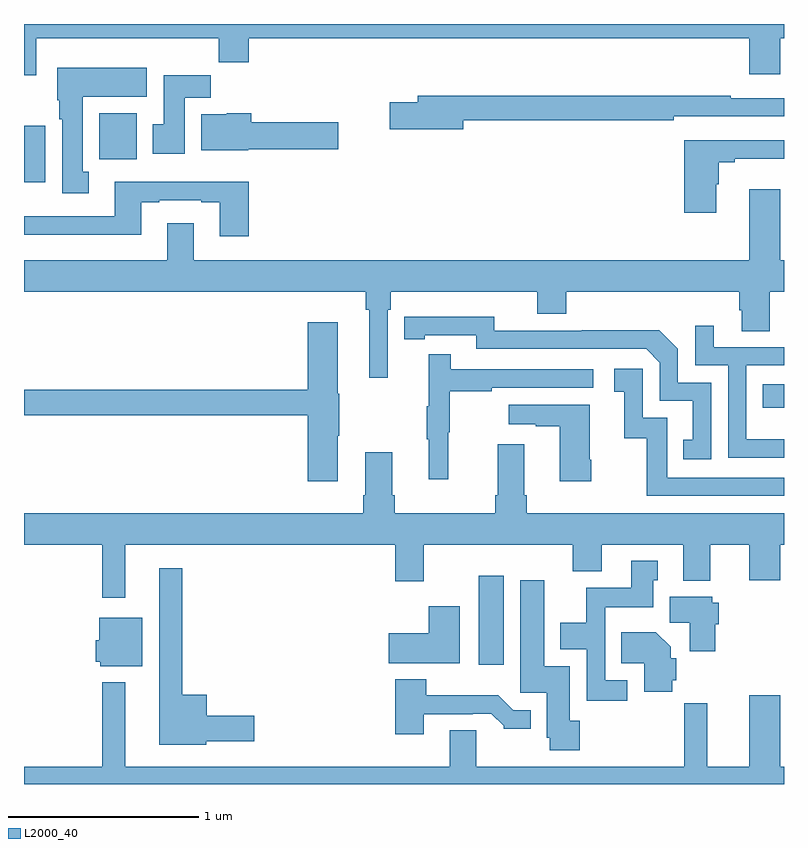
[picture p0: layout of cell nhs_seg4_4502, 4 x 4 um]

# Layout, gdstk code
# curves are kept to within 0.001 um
import gdstk
lib = gdstk.Library(unit=1e-6, precision=1e-09)
def R(c, l, rs):  # rectangles x0, y0, x1, y1
    for r in rs: c.add(gdstk.rectangle(r[:2], r[2:], *l))
def P(c, l, *ps):  # polygons
    for p in ps: c.add(gdstk.Polygon(p, *l))
L2000_40 = (2000, 40)

nhs_seg4_4502 = lib.new_cell('nhs_seg4_4502')
R(nhs_seg4_4502, L2000_40, [(355.394,789.528,355.525,789.997), (356.887,790.881,357,791.004), (353,792.068,353.113,792.364), (353.396,792.188,353.593,792.43)])
P(nhs_seg4_4502, L2000_40, [(353.065,792.824),(354.025,792.824),(354.025,792.7),(354.182,792.7),(354.182,792.824),(356.816,792.824),(356.816,792.636),(356.98,792.636),(356.98,792.824),(357,792.824),(357,792.9),(353,792.9),(353,792.63),(353.065,792.63)],
  [(353.341,792.122),(353.308,792.122),(353.308,792.518),(353.647,792.518),(353.647,792.67),(353.174,792.67),(353.174,792.498),(353.186,792.498),(353.186,792.398),(353.201,792.398),(353.201,792.009),(353.341,792.009)],
  [(353.845,792.512),(353.984,792.512),(353.984,792.631),(353.735,792.631),(353.735,792.372),(353.678,792.372),(353.678,792.216),(353.845,792.216)],
  [(355.312,792.394),(356.42,792.394),(356.42,792.414),(357,792.414),(357,792.51),(356.72,792.51),(356.72,792.523),(355.073,792.523),(355.073,792.489),(354.924,792.489),(354.924,792.347),(355.312,792.347)],
  [(354.18,792.242),(354.655,792.242),(354.655,792.384),(354.197,792.384),(354.197,792.43),(354.066,792.43),(354.066,792.424),(353.933,792.424),(353.933,792.236),(354.18,792.236)],
  [(356.644,792.057),(356.657,792.057),(356.657,792.172),(356.74,792.172),(356.74,792.191),(357,792.191),(357,792.288),(356.474,792.288),(356.474,791.907),(356.644,791.907)],
  [(354.182,792.07),(353.477,792.07),(353.477,791.889),(353,791.889),(353,791.792),(353.617,791.792),(353.617,791.961),(353.713,791.961),(353.713,791.973),(353.933,791.973),(353.933,791.961),(354.029,791.961),(354.029,791.784),(354.182,791.784)],
  [(354.915,791.396),(354.929,791.396),(354.929,791.492),(355.7,791.492),(355.7,791.375),(355.853,791.375),(355.853,791.492),(356.765,791.492),(356.765,791.394),(356.777,791.394),(356.777,791.284),(356.925,791.284),(356.925,791.492),(357,791.492),(357,791.656),(356.98,791.656),(356.98,792.031),(356.816,792.031),(356.816,791.656),(353.893,791.656),(353.893,791.851),(353.753,791.851),(353.753,791.656),(353,791.656),(353,791.492),(354.799,791.492),(354.799,791.396),(354.818,791.396),(354.818,791.037),(354.915,791.037)],
  [(356.616,791.013),(356.442,791.013),(356.442,791.19),(356.344,791.288),(355.936,791.288),(355.936,791.286),(355.476,791.286),(355.476,791.359),(355,791.358),(355,791.242),(355.108,791.242),(355.108,791.262),(355.38,791.262),(355.38,791.19),(356.274,791.19),(356.346,791.118),(356.346,790.917),(356.519,790.917),(356.519,790.713),(356.47,790.713),(356.47,790.608),(356.616,790.608)],
  [(354.652,790.732),(354.66,790.732),(354.66,790.953),(354.652,790.953),(354.652,791.329),(354.494,791.329),(354.494,790.976),(353,790.976),(353,790.84),(354.494,790.84),(354.494,790.494),(354.652,790.494)],
  [(357,790.714),(356.802,790.714),(356.802,791.103),(357,791.103),(357,791.199),(356.629,791.199),(356.629,791.311),(356.532,791.311),(356.532,791.103),(356.706,791.103),(356.706,790.617),(357,790.617)],
  [(355.232,790.752),(355.24,790.752),(355.24,790.966),(355.463,790.966),(355.463,790.986),(355.996,790.986),(355.996,791.082),(355.247,791.082),(355.247,791.161),(355.13,791.161),(355.13,790.889),(355.119,790.889),(355.119,790.715),(355.13,790.715),(355.13,790.503),(355.232,790.503)],
  [(357,790.512),(356.385,790.512),(356.385,790.827),(356.256,790.827),(356.256,791.086),(356.106,791.086),(356.106,790.965),(356.159,790.965),(356.159,790.719),(356.277,790.719),(356.277,790.416),(357,790.416)],
  [(355.986,790.606),(355.978,790.606),(355.978,790.897),(355.551,790.897),(355.551,790.793),(355.694,790.793),(355.694,790.783),(355.82,790.783),(355.82,790.494),(355.986,790.494)],
  [(355.633,790.42),(355.633,790.687),(355.493,790.687),(355.493,790.42),(355.481,790.42),(355.481,790.324),(354.95,790.324),(354.95,790.42),(354.937,790.42),(354.937,790.645),(354.797,790.645),(354.797,790.42),(354.785,790.42),(354.785,790.324),(353,790.324),(353,790.16),(353.412,790.16),(353.412,789.879),(353.533,789.879),(353.533,790.16),(354.953,790.16),(354.953,789.966),(355.105,789.966),(355.105,790.16),(355.889,790.16),(355.889,790.019),(356.041,790.019),(356.041,790.16),(356.471,790.16),(356.471,789.971),(356.611,789.971),(356.611,790.16),(356.816,790.16),(356.816,789.972),(356.98,789.972),(356.98,790.16),(357,790.16),(357,790.324),(355.646,790.324),(355.646,790.42)],
  [(356.176,789.447),(356.058,789.447),(356.058,789.83),(356.311,789.83),(356.311,789.972),(356.335,789.972),(356.335,790.075),(356.195,790.075),(356.195,789.934),(355.96,789.934),(355.96,789.748),(355.823,789.748),(355.823,789.608),(355.962,789.608),(355.962,789.339),(356.176,789.339)],
  [(353.958,789.125),(354.211,789.125),(354.211,789.26),(353.962,789.26),(353.962,789.37),(353.833,789.37),(353.833,790.036),(353.711,790.036),(353.711,789.107),(353.958,789.107)],
  [(355.925,789.234),(355.873,789.234),(355.873,789.52),(355.738,789.52),(355.738,789.973),(355.613,789.973),(355.613,789.381),(355.751,789.381),(355.751,789.144),(355.768,789.144),(355.768,789.078),(355.925,789.078)],
  [(356.639,789.741),(356.657,789.741),(356.657,789.855),(356.622,789.855),(356.622,789.886),(356.399,789.886),(356.399,789.748),(356.505,789.748),(356.505,789.6),(356.639,789.6)],
  [(355.294,789.835),(355.13,789.835),(355.13,789.694),(354.921,789.694),(354.921,789.536),(355.294,789.536)],
  [(353.623,789.775),(353.396,789.775),(353.396,789.657),(353.378,789.657),(353.378,789.543),(353.4,789.543),(353.4,789.521),(353.623,789.521)],
  [(356.412,789.447),(356.433,789.447),(356.433,789.561),(356.404,789.561),(356.404,789.622),(356.326,789.7),(356.143,789.7),(356.143,789.536),(356.264,789.536),(356.264,789.386),(356.412,789.386)],
  [(355.105,789.267),(355.361,789.267),(355.361,789.27),(355.46,789.27),(355.524,789.206),(355.524,789.191),(355.666,789.191),(355.666,789.288),(355.575,789.288),(355.497,789.367),(355.118,789.367),(355.118,789.451),(354.953,789.451),(354.953,789.162),(355.105,789.162)],
  [(356.816,789.367),(356.816,788.992),(356.595,788.992),(356.595,789.325),(356.476,789.325),(356.476,788.992),(355.381,788.992),(355.381,789.182),(355.241,789.182),(355.241,788.992),(353.533,788.992),(353.533,789.436),(353.412,789.436),(353.412,788.992),(353,788.992),(353,788.9),(357,788.9),(357,788.992),(356.98,788.992),(356.98,789.367)])

lib.write_gds('nhs_seg4_4502.gds')
